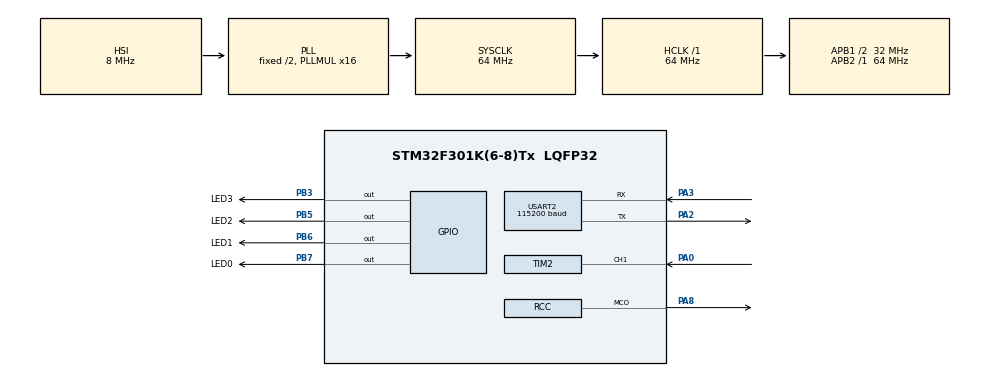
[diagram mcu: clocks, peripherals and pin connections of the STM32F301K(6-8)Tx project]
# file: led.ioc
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Mcu.Family=STM32F3
Mcu.Name=STM32F301K(6-8)Tx
Mcu.Package=LQFP32
NVIC.PriorityGroup=NVIC_PRIORITYGROUP_4
NVIC.TIM2_IRQn=true\:0\:0\:false\:false\:true\:true\:true
PA0.Signal=S_TIM2_CH1_ETR
PA2.Mode=Asynchronous
PA2.Signal=USART2_TX
PA3.Mode=Asynchronous
PA3.Signal=USART2_RX
PA8.Mode=Clock-out
PA8.Signal=RCC_MCO
PB3.GPIO_Label=LED3
PB3.Signal=GPIO_Output
PB5.GPIO_Label=LED2
PB5.Signal=GPIO_Output
PB6.GPIO_Label=LED1
PB6.Signal=GPIO_Output
PB7.GPIO_Label=LED0
PB7.Signal=GPIO_Output
PF0-OSC_IN.Mode=HSE-External-Oscillator
PF0-OSC_IN.Signal=RCC_OSC_IN
PF1-OSC_OUT.Mode=HSE-External-Oscillator
PF1-OSC_OUT.Signal=RCC_OSC_OUT
ProjectManager.HeapSize=0x200
ProjectManager.StackSize=0x400
ProjectManager.TargetToolchain=STM32CubeIDE
RCC.AHBFreq_Value=64000000
RCC.APB1CLKDivider=RCC_HCLK_DIV2
RCC.APB1Freq_Value=32000000
RCC.APB1TimFreq_Value=64000000
RCC.APB2Freq_Value=64000000
RCC.APB2TimFreq_Value=64000000
RCC.CortexFreq_Value=64000000
RCC.HCLKFreq_Value=64000000
RCC.HSE_VALUE=8000000
RCC.HSI_VALUE=8000000
RCC.PLLMUL=RCC_PLL_MUL16
RCC.SYSCLKFreq_VALUE=64000000
RCC.SYSCLKSourceVirtual=RCC_SYSCLKSOURCE_PLLCLK
SH.S_TIM2_CH1_ETR.0=TIM2_CH1,Input_Capture1_from_TI1
TIM2.Channel-Input_Capture1_from_TI1=TIM_CHANNEL_1
USART2.BaudRate=115200
USART2.VirtualMode-Asynchronous=VM_ASYNC
VP_TIM2_VS_ClockSourceINT.Mode=Internal
board=custom

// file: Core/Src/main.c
/* USER CODE BEGIN Header */
/**
  ******************************************************************************
  * @file           : main.c
  * @brief          : Main program body
  ******************************************************************************
  * @attention
  *
  * Copyright (c) 2022 STMicroelectronics.
  * All rights reserved.
  *
  * This software is licensed under terms that can be found in the LICENSE file
  * in the root directory of this software component.
  * If no LICENSE file comes with this software, it is provided AS-IS.
  *
  ******************************************************************************
  */
/* USER CODE END Header */
#include "main.h"

/* USER CODE BEGIN Includes */

uint32_t precValue = 0;
uint32_t diff = 0;

void affichage_led(void){
	//Refresh
	HAL_GPIO_WritePin(GPIOB, GPIO_PIN_6, GPIO_PIN_RESET);
	HAL_GPIO_WritePin(GPIOB, GPIO_PIN_7, GPIO_PIN_RESET);
	HAL_GPIO_WritePin(GPIOB, GPIO_PIN_6, GPIO_PIN_RESET);

	//Write
	HAL_GPIO_WritePin(GPIOB, GPIO_PIN_7, GPIO_PIN_SET);
	if (precValue>1800) {
		HAL_GPIO_WritePin(GPIOB, GPIO_PIN_6, GPIO_PIN_SET);
	}
	else if (precValue>2000) {
		HAL_GPIO_WritePin(GPIOB, GPIO_PIN_6, GPIO_PIN_SET);
	}
}
/* USER CODE END Includes */

TIM_HandleTypeDef htim2;

UART_HandleTypeDef huart2;

void SystemClock_Config(void);
static void MX_GPIO_Init(void);
static void MX_TIM2_Init(void);
static void MX_USART2_UART_Init(void);

int main(void)
{

  /* MCU Configuration--------------------------------------------------------*/

  /* Reset of all peripherals, Initializes the Flash interface and the Systick. */
  HAL_Init();

  /* Configure the system clock */
  SystemClock_Config();

  /* Initialize all configured peripherals */
  MX_GPIO_Init();
  MX_TIM2_Init();
  MX_USART2_UART_Init();
  /* USER CODE BEGIN 2 */
  HAL_TIM_Base_Start(&htim2);
  HAL_TIM_IC_Start_IT(&htim2, TIM_CHANNEL_1);
  /* USER CODE END 2 */

  /* Infinite loop */
  /* USER CODE BEGIN WHILE */
  int count = 800000;
  uint8_t MSG[20] = {'\0'};

  while (1)
  {
    /* USER CODE END WHILE */

    /* USER CODE BEGIN 3 */
	uint8_t data[] = {72, 101, 108, 108, 110, 13, 10};
	sprintf(MSG, "Ticks = %d\n\r", diff);
	HAL_UART_Transmit(&huart2, MSG, sizeof(MSG), 3000);
	HAL_Delay(100);

	affichage_led();
  }
  /* USER CODE END 3 */
}

void SystemClock_Config(void)
{
  RCC_OscInitTypeDef RCC_OscInitStruct = {0};
  RCC_ClkInitTypeDef RCC_ClkInitStruct = {0};

  /** Initializes the RCC Oscillators according to the specified parameters
  * in the RCC_OscInitTypeDef structure.
  */
  RCC_OscInitStruct.OscillatorType = RCC_OSCILLATORTYPE_HSI;
  RCC_OscInitStruct.HSIState = RCC_HSI_ON;
  RCC_OscInitStruct.HSICalibrationValue = RCC_HSICALIBRATION_DEFAULT;
  RCC_OscInitStruct.PLL.PLLState = RCC_PLL_ON;
  RCC_OscInitStruct.PLL.PLLSource = RCC_PLLSOURCE_HSI;
  RCC_OscInitStruct.PLL.PLLMUL = RCC_PLL_MUL16;
  if (HAL_RCC_OscConfig(&RCC_OscInitStruct) != HAL_OK)
  {
    Error_Handler();
  }
  /** Initializes the CPU, AHB and APB buses clocks
  */
  RCC_ClkInitStruct.ClockType = RCC_CLOCKTYPE_HCLK|RCC_CLOCKTYPE_SYSCLK
                              |RCC_CLOCKTYPE_PCLK1|RCC_CLOCKTYPE_PCLK2;
  RCC_ClkInitStruct.SYSCLKSource = RCC_SYSCLKSOURCE_PLLCLK;
  RCC_ClkInitStruct.AHBCLKDivider = RCC_SYSCLK_DIV1;
  RCC_ClkInitStruct.APB1CLKDivider = RCC_HCLK_DIV2;
  RCC_ClkInitStruct.APB2CLKDivider = RCC_HCLK_DIV1;

  if (HAL_RCC_ClockConfig(&RCC_ClkInitStruct, FLASH_LATENCY_2) != HAL_OK)
  {
    Error_Handler();
  }
  HAL_RCC_MCOConfig(RCC_MCO, RCC_MCO1SOURCE_SYSCLK, RCC_MCODIV_1);
}

static void MX_TIM2_Init(void)
{

  TIM_ClockConfigTypeDef sClockSourceConfig = {0};
  TIM_MasterConfigTypeDef sMasterConfig = {0};
  TIM_IC_InitTypeDef sConfigIC = {0};

  htim2.Instance = TIM2;
  htim2.Init.Prescaler = 0;
  htim2.Init.CounterMode = TIM_COUNTERMODE_UP;
  htim2.Init.Period = 4294967295;
  htim2.Init.ClockDivision = TIM_CLOCKDIVISION_DIV1;
  htim2.Init.AutoReloadPreload = TIM_AUTORELOAD_PRELOAD_DISABLE;
  if (HAL_TIM_Base_Init(&htim2) != HAL_OK)
  {
    Error_Handler();
  }
  sClockSourceConfig.ClockSource = TIM_CLOCKSOURCE_INTERNAL;
  if (HAL_TIM_ConfigClockSource(&htim2, &sClockSourceConfig) != HAL_OK)
  {
    Error_Handler();
  }
  if (HAL_TIM_IC_Init(&htim2) != HAL_OK)
  {
    Error_Handler();
  }
  sMasterConfig.MasterOutputTrigger = TIM_TRGO_RESET;
  sMasterConfig.MasterSlaveMode = TIM_MASTERSLAVEMODE_DISABLE;
  if (HAL_TIMEx_MasterConfigSynchronization(&htim2, &sMasterConfig) != HAL_OK)
  {
    Error_Handler();
  }
  sConfigIC.ICPolarity = TIM_INPUTCHANNELPOLARITY_RISING;
  sConfigIC.ICSelection = TIM_ICSELECTION_DIRECTTI;
  sConfigIC.ICPrescaler = TIM_ICPSC_DIV1;
  sConfigIC.ICFilter = 0;
  if (HAL_TIM_IC_ConfigChannel(&htim2, &sConfigIC, TIM_CHANNEL_1) != HAL_OK)
  {
    Error_Handler();
  }

}

static void MX_USART2_UART_Init(void)
{

  huart2.Instance = USART2;
  huart2.Init.BaudRate = 115200;
  huart2.Init.WordLength = UART_WORDLENGTH_8B;
  huart2.Init.StopBits = UART_STOPBITS_1;
  huart2.Init.Parity = UART_PARITY_NONE;
  huart2.Init.Mode = UART_MODE_TX_RX;
  huart2.Init.HwFlowCtl = UART_HWCONTROL_NONE;
  huart2.Init.OverSampling = UART_OVERSAMPLING_16;
  huart2.Init.OneBitSampling = UART_ONE_BIT_SAMPLE_DISABLE;
  huart2.AdvancedInit.AdvFeatureInit = UART_ADVFEATURE_NO_INIT;
  if (HAL_UART_Init(&huart2) != HAL_OK)
  {
    Error_Handler();
  }

}

static void MX_GPIO_Init(void)
{
  GPIO_InitTypeDef GPIO_InitStruct = {0};

  /* GPIO Ports Clock Enable */
  __HAL_RCC_GPIOF_CLK_ENABLE();
  __HAL_RCC_GPIOA_CLK_ENABLE();
  __HAL_RCC_GPIOB_CLK_ENABLE();

  /*Configure GPIO pin Output Level */
  HAL_GPIO_WritePin(GPIOB, LED3_Pin|LED2_Pin|LED1_Pin|LED0_Pin, GPIO_PIN_RESET);

  /*Configure GPIO pin : PA8 */
  GPIO_InitStruct.Pin = GPIO_PIN_8;
  GPIO_InitStruct.Mode = GPIO_MODE_AF_PP;
  GPIO_InitStruct.Pull = GPIO_NOPULL;
  GPIO_InitStruct.Speed = GPIO_SPEED_FREQ_LOW;
  GPIO_InitStruct.Alternate = GPIO_AF0_MCO;
  HAL_GPIO_Init(GPIOA, &GPIO_InitStruct);

  /*Configure GPIO pins : LED3_Pin LED2_Pin LED1_Pin LED0_Pin */
  GPIO_InitStruct.Pin = LED3_Pin|LED2_Pin|LED1_Pin|LED0_Pin;
  GPIO_InitStruct.Mode = GPIO_MODE_OUTPUT_PP;
  GPIO_InitStruct.Pull = GPIO_NOPULL;
  GPIO_InitStruct.Speed = GPIO_SPEED_FREQ_LOW;
  HAL_GPIO_Init(GPIOB, &GPIO_InitStruct);

}

/* USER CODE BEGIN 4 */

void HAL_TIM_IC_CaptureCallback(TIM_HandleTypeDef *htim)
{
	diff = TIM2->CNT - precValue;
	precValue = TIM2->CNT;
}

/* USER CODE END 4 */

void Error_Handler(void)
{
  __disable_irq();
  while (1)
  {
  }
}
